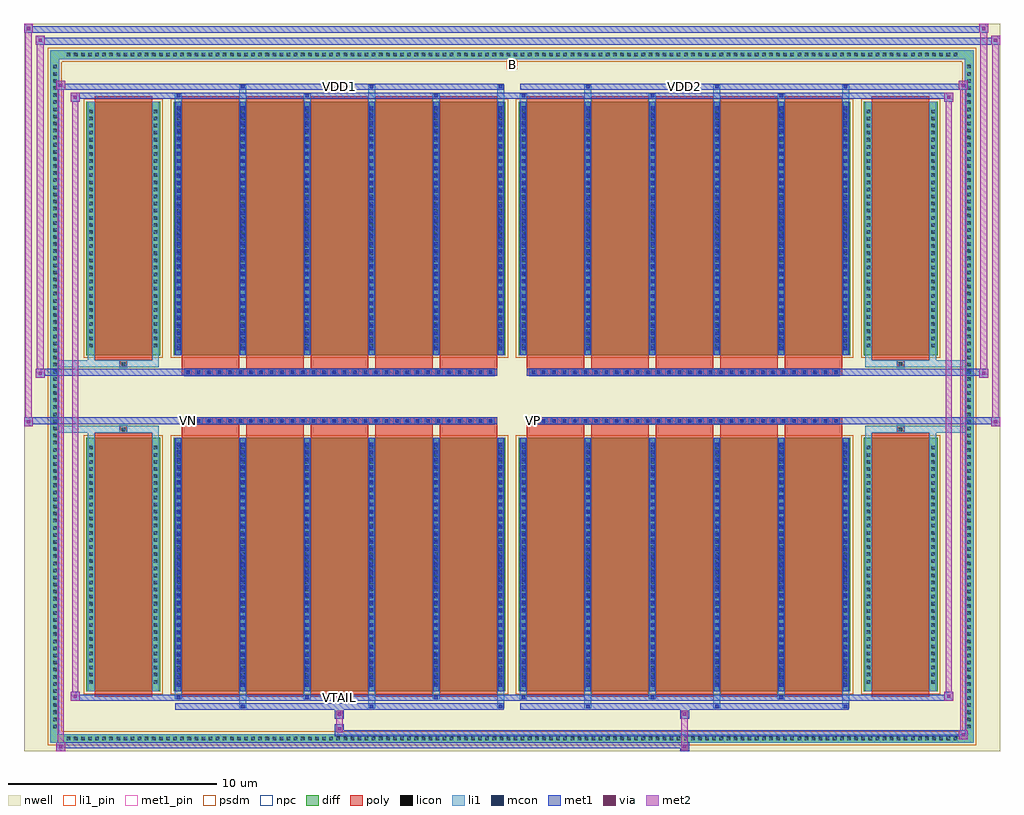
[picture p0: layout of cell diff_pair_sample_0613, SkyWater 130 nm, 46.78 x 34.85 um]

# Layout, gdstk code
import gdstk
lib = gdstk.Library(unit=1e-6, precision=5e-09)
def R(c, l, rs):  # rectangles x0, y0, x1, y1
    for r in rs: c.add(gdstk.rectangle(r[:2], r[2:], *l))
def A(c, l, x, y, w, h, nx, ny, dx, dy):  # array of equal rectangles
    R(c, l, [(x+i*dx, y+j*dy, x+i*dx+w, y+j*dy+h) for i in range(nx) for j in range(ny)])
def P(c, l, *ps):  # polygons
    for p in ps: c.add(gdstk.Polygon(p, *l))
nwell = (64, 20)
diff = (65, 20)
poly = (66, 20)
licon = (66, 44)
li1_pin = (67, 16)
li1 = (67, 20)
mcon = (67, 44)
met1_pin = (68, 16)
met1 = (68, 20)
via = (68, 44)
met2 = (69, 20)
psdm = (94, 20)
npc = (95, 20)

diff_pair_sample_0613 = lib.new_cell('diff_pair_sample_0613')
R(diff_pair_sample_0613, nwell, [(-23.39,-16.99,23.39,17.86), (-20.71,-15.18,-0.01,-0.8), (0.01,-15.18,20.71,-0.8), (-20.71,0.8,-0.01,15.18), (0.01,0.8,20.71,15.18)])
A(diff_pair_sample_0613, diff, -21.455, -16.59, 0.41, 0.41, 126, 2, 0.34, 32.77)
A(diff_pair_sample_0613, diff, -22.12, -16.015, 0.41, 0.41, 1, 94, 0, 0.34)
A(diff_pair_sample_0613, diff, 21.71, -16.015, 0.41, 0.41, 1, 94, 0, 0.34)
R(diff_pair_sample_0613, diff, [(-21.455,-16.59,21.455,-16.18), (-22.12,-16.015,-21.71,16.015), (21.71,-16.015,22.12,16.015), (-20.4,-14.135,-16.86,-1.985), (-16.22,-14.135,-0.32,-1.985), (0.32,-14.135,16.22,-1.985), (16.86,-14.135,20.4,-1.985), (-20.4,1.985,-16.86,14.135), (-16.22,1.985,-0.32,14.135), (0.32,1.985,16.22,14.135), (16.86,1.985,20.4,14.135), (-21.455,16.18,21.455,16.59)])
P(diff_pair_sample_0613, diff, [(22.12,16.59),(-22.12,16.59),(-22.12,-16.18),(-21.71,-16.18),(-21.71,16.18),(21.71,16.18),(21.71,-16.18),(-21.71,-16.18),(-22.12,-16.18),(-22.12,-16.59),(22.12,-16.59)])
A(diff_pair_sample_0613, poly, -15.83, -14.385, 2.76, 12.65, 5, 2, 3.09, 16.12)
A(diff_pair_sample_0613, poly, 0.71, -14.385, 2.76, 12.65, 5, 2, 3.09, 16.12)
A(diff_pair_sample_0613, poly, -15.83, -1.735, 2.76, 0.405, 5, 2, 3.09, 3.065)
A(diff_pair_sample_0613, poly, 0.71, -1.735, 2.76, 0.405, 5, 2, 3.09, 3.065)
A(diff_pair_sample_0613, poly, -15.685, -1.33, 0.33, 0.33, 30, 2, 0.5, 2.33)
A(diff_pair_sample_0613, poly, 0.855, -1.33, 0.33, 0.33, 30, 2, 0.5, 2.33)
R(diff_pair_sample_0613, poly, [(-20.01,-14.385,-17.25,-1.735), (17.25,-14.385,20.01,-1.735), (-18.795,-1.735,-18.465,-1.405), (-18.795,-1.735,-18.465,-1.405), (18.465,-1.735,18.795,-1.405), (18.465,-1.735,18.795,-1.405), (-15.83,-1.33,-0.71,-1), (0.71,-1.33,15.83,-1), (-15.83,1,-0.71,1.33), (0.71,1,15.83,1.33), (-18.795,1.405,-18.465,1.735), (-18.795,1.405,-18.465,1.735), (18.465,1.405,18.795,1.735), (18.465,1.405,18.795,1.735), (-20.01,1.735,-17.25,14.385), (17.25,1.735,20.01,14.385)])
A(diff_pair_sample_0613, licon, -21.335, -16.47, 0.17, 0.17, 126, 2, 0.34, 32.77)
A(diff_pair_sample_0613, licon, -22, -15.895, 0.17, 0.17, 1, 94, 0, 0.34)
A(diff_pair_sample_0613, licon, 21.83, -15.895, 0.17, 0.17, 1, 94, 0, 0.34)
A(diff_pair_sample_0613, licon, -20.26, -13.755, 0.17, 0.17, 1, 34, 0, 0.34)
A(diff_pair_sample_0613, licon, -17.17, -13.755, 0.17, 0.17, 1, 34, 0, 0.34)
A(diff_pair_sample_0613, licon, -16.08, -13.755, 0.17, 0.17, 6, 34, 3.09, 0.34)
A(diff_pair_sample_0613, licon, 0.46, -13.755, 0.17, 0.17, 6, 34, 3.09, 0.34)
A(diff_pair_sample_0613, licon, 17, -13.755, 0.17, 0.17, 1, 34, 0, 0.34)
A(diff_pair_sample_0613, licon, 20.09, -13.755, 0.17, 0.17, 1, 34, 0, 0.34)
A(diff_pair_sample_0613, licon, -15.605, -1.25, 0.17, 0.17, 30, 2, 0.5, 2.33)
A(diff_pair_sample_0613, licon, 0.935, -1.25, 0.17, 0.17, 30, 2, 0.5, 2.33)
A(diff_pair_sample_0613, licon, -20.26, 2.365, 0.17, 0.17, 1, 34, 0, 0.34)
A(diff_pair_sample_0613, licon, -17.17, 2.365, 0.17, 0.17, 1, 34, 0, 0.34)
A(diff_pair_sample_0613, licon, -16.08, 2.365, 0.17, 0.17, 6, 34, 3.09, 0.34)
A(diff_pair_sample_0613, licon, 0.46, 2.365, 0.17, 0.17, 6, 34, 3.09, 0.34)
A(diff_pair_sample_0613, licon, 17, 2.365, 0.17, 0.17, 1, 34, 0, 0.34)
A(diff_pair_sample_0613, licon, 20.09, 2.365, 0.17, 0.17, 1, 34, 0, 0.34)
R(diff_pair_sample_0613, licon, [(-18.715,-1.655,-18.545,-1.485), (18.545,-1.655,18.715,-1.485), (-18.715,1.485,-18.545,1.655), (18.545,1.485,18.715,1.655)])
R(diff_pair_sample_0613, li1_pin, [(-0.25,15.68,0.25,16.18)])
A(diff_pair_sample_0613, li1, -21.415, -16.55, 0.33, 0.33, 126, 2, 0.34, 32.77)
A(diff_pair_sample_0613, li1, -22.08, -15.975, 0.33, 0.33, 1, 94, 0, 0.34)
A(diff_pair_sample_0613, li1, 21.75, -15.975, 0.33, 0.33, 1, 94, 0, 0.34)
A(diff_pair_sample_0613, li1, -13.07, -14.94, 0.33, 0.805, 3, 2, 6.18, 29.075)
A(diff_pair_sample_0613, li1, -12.99, -14.94, 0.17, 0.17, 3, 2, 6.18, 29.71)
A(diff_pair_sample_0613, li1, 3.47, -14.94, 0.33, 0.805, 3, 2, 6.18, 29.075)
A(diff_pair_sample_0613, li1, 3.55, -14.94, 0.17, 0.17, 3, 2, 6.18, 29.71)
A(diff_pair_sample_0613, li1, -16.16, -14.51, 0.33, 0.375, 3, 2, 6.18, 28.645)
A(diff_pair_sample_0613, li1, -16.08, -14.51, 0.17, 0.17, 3, 2, 6.18, 28.85)
A(diff_pair_sample_0613, li1, 0.38, -14.51, 0.33, 0.375, 3, 2, 6.18, 28.645)
A(diff_pair_sample_0613, li1, 0.46, -14.51, 0.17, 0.17, 3, 2, 6.18, 28.85)
A(diff_pair_sample_0613, li1, -16.16, -14.135, 0.33, 12.15, 6, 2, 3.09, 16.12)
A(diff_pair_sample_0613, li1, 0.38, -14.135, 0.33, 12.15, 6, 2, 3.09, 16.12)
A(diff_pair_sample_0613, li1, -16.08, -13.905, 0.17, 0.17, 6, 33, 3.09, 0.36)
A(diff_pair_sample_0613, li1, -16.08, -13.905, 0.17, 11.69, 6, 2, 3.09, 16.12)
A(diff_pair_sample_0613, li1, 0.46, -13.905, 0.17, 0.17, 6, 33, 3.09, 0.36)
A(diff_pair_sample_0613, li1, 0.46, -13.905, 0.17, 11.69, 6, 2, 3.09, 16.12)
A(diff_pair_sample_0613, li1, -20.34, -13.835, 0.33, 0.33, 1, 34, 0, 0.34)
A(diff_pair_sample_0613, li1, -17.25, -13.835, 0.33, 0.33, 1, 34, 0, 0.34)
A(diff_pair_sample_0613, li1, -16.16, -13.835, 0.33, 0.33, 6, 34, 3.09, 0.34)
A(diff_pair_sample_0613, li1, 0.38, -13.835, 0.33, 0.33, 6, 34, 3.09, 0.34)
A(diff_pair_sample_0613, li1, 16.92, -13.835, 0.33, 0.33, 1, 34, 0, 0.34)
A(diff_pair_sample_0613, li1, 20.01, -13.835, 0.33, 0.33, 1, 34, 0, 0.34)
A(diff_pair_sample_0613, li1, -15.685, -1.33, 0.33, 0.33, 30, 2, 0.5, 2.33)
A(diff_pair_sample_0613, li1, 0.855, -1.33, 0.33, 0.33, 30, 2, 0.5, 2.33)
A(diff_pair_sample_0613, li1, -16.08, 2.215, 0.17, 0.17, 6, 33, 3.09, 0.36)
A(diff_pair_sample_0613, li1, 0.46, 2.215, 0.17, 0.17, 6, 33, 3.09, 0.36)
A(diff_pair_sample_0613, li1, -20.34, 2.285, 0.33, 0.33, 1, 34, 0, 0.34)
A(diff_pair_sample_0613, li1, -17.25, 2.285, 0.33, 0.33, 1, 34, 0, 0.34)
A(diff_pair_sample_0613, li1, -16.16, 2.285, 0.33, 0.33, 6, 34, 3.09, 0.34)
A(diff_pair_sample_0613, li1, 0.38, 2.285, 0.33, 0.33, 6, 34, 3.09, 0.34)
A(diff_pair_sample_0613, li1, 16.92, 2.285, 0.33, 0.33, 1, 34, 0, 0.34)
A(diff_pair_sample_0613, li1, 20.01, 2.285, 0.33, 0.33, 1, 34, 0, 0.34)
R(diff_pair_sample_0613, li1, [(-22.12,-16.59,-21.71,-16.18), (-22.12,-16.59,-21.71,-16.18), (-21.71,-16.59,21.71,-16.18), (21.71,-16.59,22.12,-16.18), (21.71,-16.59,22.12,-16.18), (-22.12,-16.18,-21.71,16.18), (21.71,-16.18,22.12,16.18), (-20.34,-14.135,-20.01,-1.985), (-17.25,-14.135,-16.92,-1.985), (16.92,-14.135,17.25,-1.985), (20.01,-14.135,20.34,-1.985), (-20.34,-1.985,-20.01,-1.405), (-17.25,-1.985,-16.92,-1.405), (16.92,-1.985,17.25,-1.405), (20.01,-1.985,20.34,-1.405), (-22.12,-1.735,-18.795,-1.405), (-20.34,-1.735,-18.795,-1.405), (-18.795,-1.735,-18.465,-1.405), (-18.465,-1.735,-16.92,-1.405), (16.92,-1.735,18.465,-1.405), (18.465,-1.735,18.795,-1.405), (18.465,-1.735,22.12,-1.405), (18.795,-1.735,20.34,-1.405), (-22.12,1.405,-18.795,1.735), (-20.34,1.405,-18.795,1.735), (-20.34,1.405,-20.01,1.985), (-18.795,1.405,-18.465,1.735), (-18.465,1.405,-16.92,1.735), (-17.25,1.405,-16.92,1.985), (16.92,1.405,18.465,1.735), (16.92,1.405,17.25,1.985), (18.465,1.405,18.795,1.735), (18.465,1.405,22.12,1.735), (18.795,1.405,20.34,1.735), (20.01,1.405,20.34,1.985), (-20.34,1.985,-20.01,14.135), (-17.25,1.985,-16.92,14.135), (16.92,1.985,17.25,14.135), (20.01,1.985,20.34,14.135), (-22.12,16.18,-21.71,16.59), (-22.12,16.18,-21.71,16.59), (-21.71,16.18,21.71,16.59), (21.71,16.18,22.12,16.59), (21.71,16.18,22.12,16.59)])
A(diff_pair_sample_0613, mcon, -12.99, -14.94, 0.17, 0.17, 3, 2, 6.18, 29.71)
A(diff_pair_sample_0613, mcon, 3.55, -14.94, 0.17, 0.17, 3, 2, 6.18, 29.71)
A(diff_pair_sample_0613, mcon, -16.08, -14.51, 0.17, 0.17, 3, 2, 6.18, 28.85)
A(diff_pair_sample_0613, mcon, 0.46, -14.51, 0.17, 0.17, 3, 2, 6.18, 28.85)
A(diff_pair_sample_0613, mcon, -16.08, -13.905, 0.17, 0.17, 6, 33, 3.09, 0.36)
A(diff_pair_sample_0613, mcon, 0.46, -13.905, 0.17, 0.17, 6, 33, 3.09, 0.36)
A(diff_pair_sample_0613, mcon, -15.605, -1.25, 0.17, 0.17, 30, 2, 0.5, 2.33)
A(diff_pair_sample_0613, mcon, 0.935, -1.25, 0.17, 0.17, 30, 2, 0.5, 2.33)
A(diff_pair_sample_0613, mcon, -16.08, 2.215, 0.17, 0.17, 6, 33, 3.09, 0.36)
A(diff_pair_sample_0613, mcon, 0.46, 2.215, 0.17, 0.17, 6, 33, 3.09, 0.36)
R(diff_pair_sample_0613, met1_pin, [(-8.405,-14.55,-8.135,-14.28), (-15.655,-1.29,-15.385,-1.02), (0.885,-1.29,1.155,-1.02), (-8.405,14.73,-8.135,15), (8.135,14.73,8.405,15)])
A(diff_pair_sample_0613, met1, -13.05, -15, 0.29, 0.29, 3, 2, 6.18, 29.71)
A(diff_pair_sample_0613, met1, 3.49, -15, 0.29, 0.29, 3, 2, 6.18, 29.71)
A(diff_pair_sample_0613, met1, -16.14, -14.57, 0.29, 0.29, 3, 2, 6.18, 28.85)
A(diff_pair_sample_0613, met1, 0.4, -14.57, 0.29, 0.29, 3, 2, 6.18, 28.85)
A(diff_pair_sample_0613, met1, -16.14, -14.135, 0.29, 12.15, 6, 2, 3.09, 16.12)
A(diff_pair_sample_0613, met1, 0.4, -14.135, 0.29, 12.15, 6, 2, 3.09, 16.12)
A(diff_pair_sample_0613, met1, -16.14, -13.965, 0.29, 0.29, 6, 33, 3.09, 0.36)
A(diff_pair_sample_0613, met1, 0.4, -13.965, 0.29, 0.29, 6, 33, 3.09, 0.36)
A(diff_pair_sample_0613, met1, -15.665, -1.31, 0.29, 0.29, 30, 2, 0.5, 2.33)
A(diff_pair_sample_0613, met1, 0.875, -1.31, 0.29, 0.29, 30, 2, 0.5, 2.33)
A(diff_pair_sample_0613, met1, -16.14, 2.155, 0.29, 0.29, 6, 33, 3.09, 0.36)
A(diff_pair_sample_0613, met1, 0.4, 2.155, 0.29, 0.29, 6, 33, 3.09, 0.36)
R(diff_pair_sample_0613, met1, [(-21.85,-16.99,-21.42,-16.56), (8.055,-16.99,8.485,-16.56), (-21.85,-16.85,8.485,-16.56), (21.42,-16.42,21.85,-15.99), (-8.485,-16.28,21.85,-15.99), (-8.485,-16.14,-8.055,-15.71), (-8.485,-15.43,-8.055,-15), (8.055,-15.43,8.485,-15), (-16.14,-15,-0.4,-14.71), (0.4,-15,16.14,-14.71), (-21.14,-14.57,-20.71,-14.14), (-21.14,-14.57,-16.14,-14.28), (-16.14,-14.57,-0.4,-14.28), (-0.4,-14.57,0.4,-14.28), (0.4,-14.57,16.14,-14.28), (16.14,-14.57,21.14,-14.28), (20.71,-14.57,21.14,-14.14), (-23.39,-1.43,-22.96,-1), (22.96,-1.43,23.39,-1), (-23.39,-1.33,-0.71,-1), (-15.83,-1.33,-0.71,-1), (0.71,-1.33,15.83,-1), (0.71,-1.33,23.39,-1), (-22.82,0.9,-22.39,1.33), (22.39,0.9,22.82,1.33), (-22.82,1,-15.83,1.33), (-15.83,1,-0.71,1.33), (0.71,1,15.83,1.33), (15.83,1,22.82,1.33), (-21.14,14.14,-20.71,14.57), (20.71,14.14,21.14,14.57), (-21.14,14.28,-16.14,14.57), (-16.14,14.28,-0.4,14.57), (-0.4,14.28,0.4,14.57), (0.4,14.28,16.14,14.57), (16.14,14.28,21.14,14.57), (-21.85,14.71,-21.42,15.14), (-21.85,14.71,-16.14,15), (-16.14,14.71,-0.4,15), (0.4,14.71,16.14,15), (16.14,14.71,21.85,15), (21.42,14.71,21.85,15.14), (-22.82,16.86,-22.39,17.29), (-22.82,16.86,-20.71,17.19), (-20.71,16.86,20.71,17.19), (20.71,16.86,23.39,17.19), (22.96,16.86,23.39,17.29), (-23.39,17.43,-22.96,17.86), (-23.39,17.43,-20.71,17.76), (-20.71,17.43,20.71,17.76), (20.71,17.43,22.82,17.76), (22.39,17.43,22.82,17.86)])
R(diff_pair_sample_0613, via, [(-21.71,-16.85,-21.56,-16.7), (8.195,-16.85,8.345,-16.7), (21.56,-16.28,21.71,-16.13), (-8.345,-16,-8.195,-15.85), (-8.345,-15.29,-8.195,-15.14), (8.195,-15.29,8.345,-15.14), (-21,-14.43,-20.85,-14.28), (20.85,-14.43,21,-14.28), (-23.25,-1.29,-23.1,-1.14), (23.1,-1.29,23.25,-1.14), (-22.68,1.04,-22.53,1.19), (22.53,1.04,22.68,1.19), (-21,14.28,-20.85,14.43), (20.85,14.28,21,14.43), (-21.71,14.85,-21.56,15), (21.56,14.85,21.71,15), (-22.68,17,-22.53,17.15), (23.1,17,23.25,17.15), (-23.25,17.57,-23.1,17.72), (22.53,17.57,22.68,17.72)])
R(diff_pair_sample_0613, met2, [(-21.85,-16.99,-21.42,-16.56), (-21.78,-16.99,-21.49,15.14), (-21.49,-16.99,-21.42,-16.56), (-21.8,-16.94,-21.47,-16.61), (8.105,-16.94,8.435,-16.61), (8.105,-16.61,8.435,-15.38), (21.42,-16.42,21.85,-15.99), (21.49,-16.42,21.78,15.14), (21.78,-16.42,21.85,-15.99), (21.47,-16.37,21.8,-16.04), (-8.435,-16.09,-8.105,-15.76), (-8.435,-15.76,-8.105,-15.38), (-8.435,-15.38,-8.105,-15.05), (8.105,-15.38,8.435,-15.05), (-21.14,-14.57,-20.71,-14.14), (-21.07,-14.57,-20.78,14.57), (-20.78,-14.57,-20.71,-14.14), (20.71,-14.57,21.14,-14.14), (20.78,-14.57,21.07,14.57), (21.07,-14.57,21.14,-14.14), (-21.09,-14.52,-20.76,-14.19), (20.76,-14.52,21.09,-14.19), (-23.39,-1.43,-22.96,-1), (-23.34,-1.43,-23.01,17.86), (-23.01,-1.43,-22.96,-1), (22.96,-1.43,23.39,-1), (23.01,-1.43,23.34,17.29), (23.34,-1.43,23.39,-1), (-23.34,-1.38,-23.01,-1.05), (23.01,-1.38,23.34,-1.05), (-22.82,0.9,-22.39,1.33), (-22.77,0.9,-22.44,17.29), (-22.44,0.9,-22.39,1.33), (22.39,0.9,22.82,1.33), (22.44,0.9,22.77,17.86), (22.77,0.9,22.82,1.33), (-22.77,0.95,-22.44,1.28), (22.44,0.95,22.77,1.28), (-21.14,14.14,-20.71,14.57), (-20.78,14.14,-20.71,14.57), (20.71,14.14,21.14,14.57), (21.07,14.14,21.14,14.57), (-21.09,14.19,-20.76,14.52), (20.76,14.19,21.09,14.52), (-21.85,14.71,-21.42,15.14), (-21.49,14.71,-21.42,15.14), (21.42,14.71,21.85,15.14), (21.78,14.71,21.85,15.14), (-21.8,14.76,-21.47,15.09), (21.47,14.76,21.8,15.09), (-22.82,16.86,-22.39,17.29), (-22.44,16.86,-22.39,17.29), (22.96,16.86,23.39,17.29), (23.34,16.86,23.39,17.29), (-22.77,16.91,-22.44,17.24), (23.01,16.91,23.34,17.24), (-23.39,17.43,-22.96,17.86), (-23.01,17.43,-22.96,17.86), (22.39,17.43,22.82,17.86), (22.77,17.43,22.82,17.86), (-23.34,17.48,-23.01,17.81), (22.44,17.48,22.77,17.81)])
R(diff_pair_sample_0613, psdm, [(-20.53,-14.265,-16.73,-1.855), (-16.35,-14.265,-0.19,-1.855), (0.19,-14.265,16.35,-1.855), (16.73,-14.265,20.53,-1.855), (-20.53,1.855,-16.73,14.265), (-16.35,1.855,-0.19,14.265), (0.19,1.855,16.35,14.265), (16.73,1.855,20.53,14.265)])
P(diff_pair_sample_0613, psdm, [(22.25,16.72),(-22.25,16.72),(-22.25,-16.05),(-21.58,-16.05),(-21.58,16.05),(21.58,16.05),(21.58,-16.05),(-21.58,-16.05),(-22.25,-16.05),(-22.25,-16.72),(22.25,-16.72)])
A(diff_pair_sample_0613, npc, -15.705, -1.35, 0.37, 0.37, 30, 2, 0.5, 2.33)
A(diff_pair_sample_0613, npc, 0.835, -1.35, 0.37, 0.37, 30, 2, 0.5, 2.33)
R(diff_pair_sample_0613, npc, [(-18.815,-1.755,-18.445,-1.385), (18.445,-1.755,18.815,-1.385), (-15.705,-1.35,-14.835,-0.98), (-15.705,-1.35,-14.835,-0.98), (-15.205,-1.35,-14.335,-0.98), (-15.205,-1.35,-14.335,-0.98), (-14.705,-1.35,-13.835,-0.98), (-14.705,-1.35,-13.835,-0.98), (-14.205,-1.35,-13.335,-0.98), (-14.205,-1.35,-13.335,-0.98), (-13.705,-1.35,-12.835,-0.98), (-13.705,-1.35,-12.835,-0.98), (-13.205,-1.35,-12.335,-0.98), (-13.205,-1.35,-12.335,-0.98), (-12.705,-1.35,-11.835,-0.98), (-12.705,-1.35,-11.835,-0.98), (-12.205,-1.35,-11.335,-0.98), (-12.205,-1.35,-11.335,-0.98), (-11.705,-1.35,-10.835,-0.98), (-11.705,-1.35,-10.835,-0.98), (-11.205,-1.35,-10.335,-0.98), (-11.205,-1.35,-10.335,-0.98), (-10.705,-1.35,-9.835,-0.98), (-10.705,-1.35,-9.835,-0.98), (-10.205,-1.35,-9.335,-0.98), (-10.205,-1.35,-9.335,-0.98), (-9.705,-1.35,-8.835,-0.98), (-9.705,-1.35,-8.835,-0.98), (-9.205,-1.35,-8.335,-0.98), (-9.205,-1.35,-8.335,-0.98), (-8.705,-1.35,-7.835,-0.98), (-8.705,-1.35,-7.835,-0.98), (-8.205,-1.35,-7.335,-0.98), (-8.205,-1.35,-7.335,-0.98), (-7.705,-1.35,-6.835,-0.98), (-7.705,-1.35,-6.835,-0.98), (-7.205,-1.35,-6.335,-0.98), (-7.205,-1.35,-6.335,-0.98), (-6.705,-1.35,-5.835,-0.98), (-6.705,-1.35,-5.835,-0.98), (-6.205,-1.35,-5.335,-0.98), (-6.205,-1.35,-5.335,-0.98), (-5.705,-1.35,-4.835,-0.98), (-5.705,-1.35,-4.835,-0.98), (-5.205,-1.35,-4.335,-0.98), (-5.205,-1.35,-4.335,-0.98), (-4.705,-1.35,-3.835,-0.98), (-4.705,-1.35,-3.835,-0.98), (-4.205,-1.35,-3.335,-0.98), (-4.205,-1.35,-3.335,-0.98), (-3.705,-1.35,-2.835,-0.98), (-3.705,-1.35,-2.835,-0.98), (-3.205,-1.35,-2.335,-0.98), (-3.205,-1.35,-2.335,-0.98), (-2.705,-1.35,-1.835,-0.98), (-2.705,-1.35,-1.835,-0.98), (-2.205,-1.35,-1.335,-0.98), (-2.205,-1.35,-1.335,-0.98), (-1.705,-1.35,-0.835,-0.98), (-1.705,-1.35,-0.835,-0.98), (0.835,-1.35,1.705,-0.98), (0.835,-1.35,1.705,-0.98), (1.335,-1.35,2.205,-0.98), (1.335,-1.35,2.205,-0.98), (1.835,-1.35,2.705,-0.98), (1.835,-1.35,2.705,-0.98), (2.335,-1.35,3.205,-0.98), (2.335,-1.35,3.205,-0.98), (2.835,-1.35,3.705,-0.98), (2.835,-1.35,3.705,-0.98), (3.335,-1.35,4.205,-0.98), (3.335,-1.35,4.205,-0.98), (3.835,-1.35,4.705,-0.98), (3.835,-1.35,4.705,-0.98), (4.335,-1.35,5.205,-0.98), (4.335,-1.35,5.205,-0.98), (4.835,-1.35,5.705,-0.98), (4.835,-1.35,5.705,-0.98), (5.335,-1.35,6.205,-0.98), (5.335,-1.35,6.205,-0.98), (5.835,-1.35,6.705,-0.98), (5.835,-1.35,6.705,-0.98), (6.335,-1.35,7.205,-0.98), (6.335,-1.35,7.205,-0.98), (6.835,-1.35,7.705,-0.98), (6.835,-1.35,7.705,-0.98), (7.335,-1.35,8.205,-0.98), (7.335,-1.35,8.205,-0.98), (7.835,-1.35,8.705,-0.98), (7.835,-1.35,8.705,-0.98), (8.335,-1.35,9.205,-0.98), (8.335,-1.35,9.205,-0.98), (8.835,-1.35,9.705,-0.98), (8.835,-1.35,9.705,-0.98), (9.335,-1.35,10.205,-0.98), (9.335,-1.35,10.205,-0.98), (9.835,-1.35,10.705,-0.98), (9.835,-1.35,10.705,-0.98), (10.335,-1.35,11.205,-0.98), (10.335,-1.35,11.205,-0.98), (10.835,-1.35,11.705,-0.98), (10.835,-1.35,11.705,-0.98), (11.335,-1.35,12.205,-0.98), (11.335,-1.35,12.205,-0.98), (11.835,-1.35,12.705,-0.98), (11.835,-1.35,12.705,-0.98), (12.335,-1.35,13.205,-0.98), (12.335,-1.35,13.205,-0.98), (12.835,-1.35,13.705,-0.98), (12.835,-1.35,13.705,-0.98), (13.335,-1.35,14.205,-0.98), (13.335,-1.35,14.205,-0.98), (13.835,-1.35,14.705,-0.98), (13.835,-1.35,14.705,-0.98), (14.335,-1.35,15.205,-0.98), (14.335,-1.35,15.205,-0.98), (14.835,-1.35,15.705,-0.98), (14.835,-1.35,15.705,-0.98), (-15.705,0.98,-14.835,1.35), (-15.705,0.98,-14.835,1.35), (-15.205,0.98,-14.335,1.35), (-15.205,0.98,-14.335,1.35), (-14.705,0.98,-13.835,1.35), (-14.705,0.98,-13.835,1.35), (-14.205,0.98,-13.335,1.35), (-14.205,0.98,-13.335,1.35), (-13.705,0.98,-12.835,1.35), (-13.705,0.98,-12.835,1.35), (-13.205,0.98,-12.335,1.35), (-13.205,0.98,-12.335,1.35), (-12.705,0.98,-11.835,1.35), (-12.705,0.98,-11.835,1.35), (-12.205,0.98,-11.335,1.35), (-12.205,0.98,-11.335,1.35), (-11.705,0.98,-10.835,1.35), (-11.705,0.98,-10.835,1.35), (-11.205,0.98,-10.335,1.35), (-11.205,0.98,-10.335,1.35), (-10.705,0.98,-9.835,1.35), (-10.705,0.98,-9.835,1.35), (-10.205,0.98,-9.335,1.35), (-10.205,0.98,-9.335,1.35), (-9.705,0.98,-8.835,1.35), (-9.705,0.98,-8.835,1.35), (-9.205,0.98,-8.335,1.35), (-9.205,0.98,-8.335,1.35), (-8.705,0.98,-7.835,1.35), (-8.705,0.98,-7.835,1.35), (-8.205,0.98,-7.335,1.35), (-8.205,0.98,-7.335,1.35), (-7.705,0.98,-6.835,1.35), (-7.705,0.98,-6.835,1.35), (-7.205,0.98,-6.335,1.35), (-7.205,0.98,-6.335,1.35), (-6.705,0.98,-5.835,1.35), (-6.705,0.98,-5.835,1.35), (-6.205,0.98,-5.335,1.35), (-6.205,0.98,-5.335,1.35), (-5.705,0.98,-4.835,1.35), (-5.705,0.98,-4.835,1.35), (-5.205,0.98,-4.335,1.35), (-5.205,0.98,-4.335,1.35), (-4.705,0.98,-3.835,1.35), (-4.705,0.98,-3.835,1.35), (-4.205,0.98,-3.335,1.35), (-4.205,0.98,-3.335,1.35), (-3.705,0.98,-2.835,1.35), (-3.705,0.98,-2.835,1.35), (-3.205,0.98,-2.335,1.35), (-3.205,0.98,-2.335,1.35), (-2.705,0.98,-1.835,1.35), (-2.705,0.98,-1.835,1.35), (-2.205,0.98,-1.335,1.35), (-2.205,0.98,-1.335,1.35), (-1.705,0.98,-0.835,1.35), (-1.705,0.98,-0.835,1.35), (0.835,0.98,1.705,1.35), (0.835,0.98,1.705,1.35), (1.335,0.98,2.205,1.35), (1.335,0.98,2.205,1.35), (1.835,0.98,2.705,1.35), (1.835,0.98,2.705,1.35), (2.335,0.98,3.205,1.35), (2.335,0.98,3.205,1.35), (2.835,0.98,3.705,1.35), (2.835,0.98,3.705,1.35), (3.335,0.98,4.205,1.35), (3.335,0.98,4.205,1.35), (3.835,0.98,4.705,1.35), (3.835,0.98,4.705,1.35), (4.335,0.98,5.205,1.35), (4.335,0.98,5.205,1.35), (4.835,0.98,5.705,1.35), (4.835,0.98,5.705,1.35), (5.335,0.98,6.205,1.35), (5.335,0.98,6.205,1.35), (5.835,0.98,6.705,1.35), (5.835,0.98,6.705,1.35), (6.335,0.98,7.205,1.35), (6.335,0.98,7.205,1.35), (6.835,0.98,7.705,1.35), (6.835,0.98,7.705,1.35), (7.335,0.98,8.205,1.35), (7.335,0.98,8.205,1.35), (7.835,0.98,8.705,1.35), (7.835,0.98,8.705,1.35), (8.335,0.98,9.205,1.35), (8.335,0.98,9.205,1.35), (8.835,0.98,9.705,1.35), (8.835,0.98,9.705,1.35), (9.335,0.98,10.205,1.35), (9.335,0.98,10.205,1.35), (9.835,0.98,10.705,1.35), (9.835,0.98,10.705,1.35), (10.335,0.98,11.205,1.35), (10.335,0.98,11.205,1.35), (10.835,0.98,11.705,1.35), (10.835,0.98,11.705,1.35), (11.335,0.98,12.205,1.35), (11.335,0.98,12.205,1.35), (11.835,0.98,12.705,1.35), (11.835,0.98,12.705,1.35), (12.335,0.98,13.205,1.35), (12.335,0.98,13.205,1.35), (12.835,0.98,13.705,1.35), (12.835,0.98,13.705,1.35), (13.335,0.98,14.205,1.35), (13.335,0.98,14.205,1.35), (13.835,0.98,14.705,1.35), (13.835,0.98,14.705,1.35), (14.335,0.98,15.205,1.35), (14.335,0.98,15.205,1.35), (14.835,0.98,15.705,1.35), (14.835,0.98,15.705,1.35), (-18.815,1.385,-18.445,1.755), (18.445,1.385,18.815,1.755)])
diff_pair_sample_0613.add(gdstk.Label('VTAIL', (-8.27,-14.415), layer=68, texttype=5))
diff_pair_sample_0613.add(gdstk.Label('VN', (-15.52,-1.155), layer=68, texttype=5))
diff_pair_sample_0613.add(gdstk.Label('VP', (1.02,-1.155), layer=68, texttype=5))
diff_pair_sample_0613.add(gdstk.Label('B', (0,15.93), layer=67, texttype=5))
diff_pair_sample_0613.add(gdstk.Label('VDD2', (8.27,14.865), layer=68, texttype=5))
diff_pair_sample_0613.add(gdstk.Label('VDD1', (-8.27,14.865), layer=68, texttype=5))

lib.write_gds('diff_pair_sample_0613.gds')
